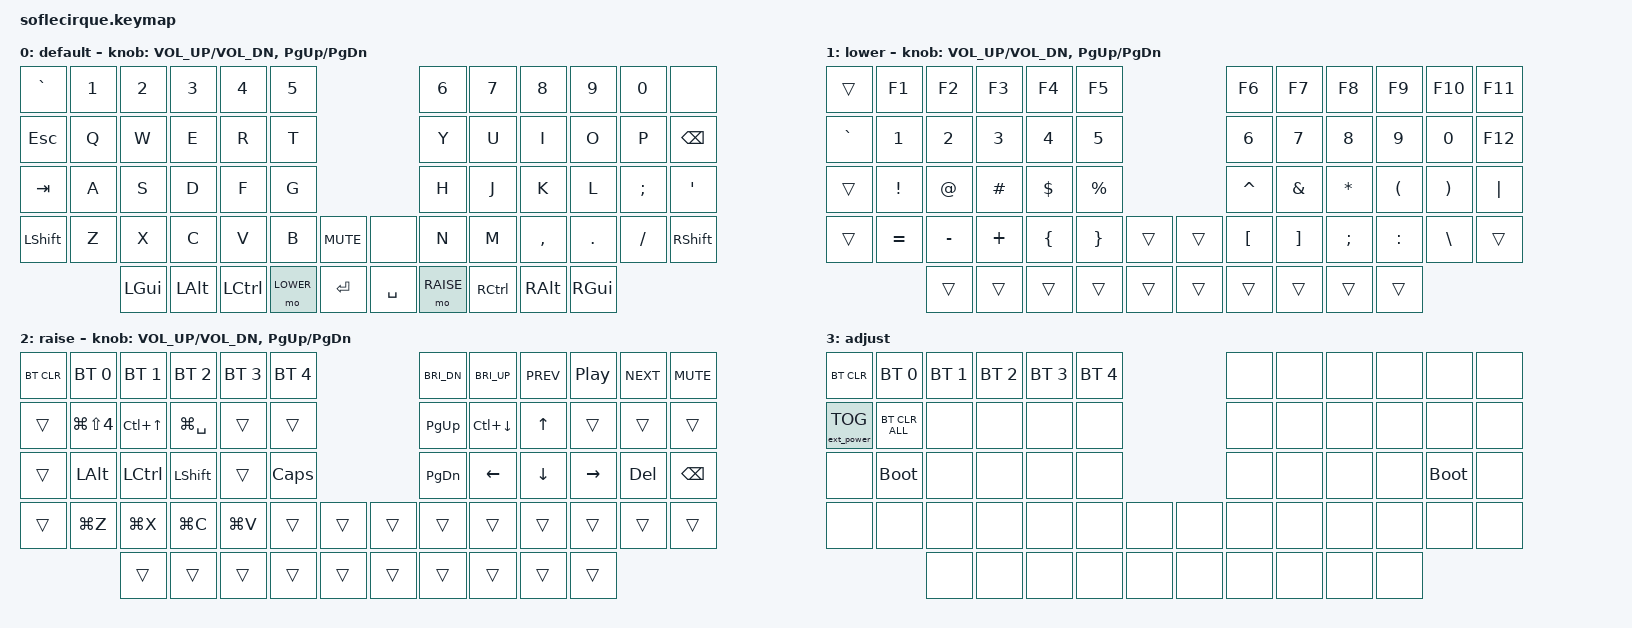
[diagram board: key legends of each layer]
/*
 * Copyright (c) 2020 The ZMK Contributors
 *
 * SPDX-License-Identifier: MIT
 */

#include <behaviors.dtsi>
#include <dt-bindings/zmk/keys.h>
#include <dt-bindings/zmk/bt.h>
#include <dt-bindings/zmk/ext_power.h>

#define BASE 0
#define LOWER 1
#define RAISE 2
#define ADJUST 3

/ {

   // Activate ADJUST layer by pressing raise and lower
    conditional_layers {
        compatible = "zmk,conditional-layers";
        adjust_layer {
            if-layers = <LOWER RAISE>;
            then-layer = <ADJUST>;
        };
    };

    keymap {
        compatible = "zmk,keymap";

        default_layer {
            display-name = "default";
// ------------------------------------------------------------------------------------------------------------
// |   `   |  1  |  2  |  3   |  4   |  5   |                   |  6   |  7    |  8    |  9   |   0   |       |
// |  ESC  |  Q  |  W  |  E   |  R   |  T   |                   |  Y   |  U    |  I    |  O   |   P   | BKSPC |
// |  TAB  |  A  |  S  |  D   |  F   |  G   |                   |  H   |  J    |  K    |  L   |   ;   |   '   |
// | SHIFT |  Z  |  X  |  C   |  V   |  B   |  MUTE  |  |       |  N   |  M    |  ,    |  .   |   /   | SHIFT |
//               | GUI | ALT  | CTRL | LOWER|  ENTER |  | SPACE | RAISE| CTRL  | ALT   | GUI  |
            bindings = <
&kp GRAVE &kp N1 &kp N2   &kp N3   &kp N4    &kp N5                           &kp N6 &kp N7    &kp N8    &kp N9   &kp N0   &none
&kp ESC   &kp Q  &kp W    &kp E    &kp R     &kp T                            &kp Y  &kp U     &kp I     &kp O    &kp P    &kp BSPC
&kp TAB   &kp A  &kp S    &kp D    &kp F     &kp G                            &kp H  &kp J     &kp K     &kp L    &kp SEMI &kp SQT
&kp LSHFT &kp Z  &kp X    &kp C    &kp V     &kp B      &kp C_MUTE &none      &kp N  &kp M     &kp COMMA &kp DOT  &kp FSLH &kp RSHFT
                 &kp LGUI &kp LALT &kp LCTRL &mo LOWER  &kp RET    &kp SPACE  &mo RAISE  &kp RCTRL &kp RALT  &kp RGUI
            >;

            sensor-bindings = <&inc_dec_kp C_VOL_UP C_VOL_DN &inc_dec_kp PG_UP PG_DN>;
        };

        lower_layer {
            display-name = "lower";
// TODO: Some binds are waiting for shifted keycode support.
// ------------------------------------------------------------------------------------------------------------
// |       |  F1 |  F2 |  F3  |  F4  |  F5  |                   |  F6  |  F7   |  F8   |  F9  |  F10  |  F11  |
// |   `   |  1  |  2  |  3   |  4   |  5   |                   |  6   |  7    |  8    |  9   |   0   |  F12  |
// |       |  !  |  @  |  #   |  $   |  %   |                   |  ^   |  &    |  *    |  (   |   )   |   |   |
// |       |  =  |  -  |  +   |  {   |  }   |        |  |       |  [   |  ]    |  ;    |  :   |   \   |       |
//               |     |      |      |      |        |  |       |      |       |       |      |
            bindings = <
&trans    &kp F1    &kp F2    &kp F3      &kp F4    &kp F5                    &kp F6    &kp F7   &kp F8    &kp F9    &kp F10   &kp F11
&kp GRAVE &kp N1    &kp N2    &kp N3      &kp N4    &kp N5                    &kp N6    &kp N7   &kp N8    &kp N9    &kp N0    &kp F12
&trans    &kp EXCL  &kp AT    &kp HASH    &kp DLLR  &kp PRCNT                 &kp CARET &kp AMPS &kp ASTRK &kp LPAR  &kp RPAR  &kp PIPE
&trans    &kp EQUAL &kp MINUS &kp PLUS &kp LBRC  &kp RBRC   &trans &trans  &kp LBKT  &kp RBKT &kp SEMI  &kp COLON &kp BSLH  &trans
                    &trans    &trans      &trans    &trans     &trans &trans  &trans    &trans   &trans    &trans
            >;

            sensor-bindings = <&inc_dec_kp C_VOL_UP C_VOL_DN &inc_dec_kp PG_UP PG_DN>;
        };

        raise_layer {
            display-name = "raise";
// ------------------------------------------------------------------------------------------------------------
// | BTCLR | BT1  | BT2  |  BT3  |  BT4  |  BT5 |                | BRI- | BRI+ | PREV  | PLAY | NEXT  | MUTE  |
// |       | SHOT | MCTL | SPOT  |       |      |                | PGUP | EXPO |   ^   |      |       |       |
// |       | ALT  | CTRL | SHIFT |       | CAPS |                | PGDN |   <- |   v   |  ->  |  DEL  | BKSPC |
// |       | CMD+Z| CMD+X| CMD+C | CMD+V |      |      |  |      |      |      |       |      |       |       |
//                |      |       |       |      |      |  |      |      |      |       |      |
// macOS: SHOT = Cmd+Shift+4 (captura)   MCTL = Ctrl+Up (Mission Control)
//        SPOT = Cmd+Space (Spotlight)   EXPO = Ctrl+Down (App Expose)
            bindings = <
&bt BT_CLR &bt BT_SEL 0   &bt BT_SEL 1 &bt BT_SEL 2  &bt BT_SEL 3 &bt BT_SEL 4                &kp C_BRI_DN &kp C_BRI_UP &kp C_PREV &kp C_PP  &kp C_NEXT &kp C_MUTE
&trans     &kp LG(LS(N4)) &kp LC(UP)   &kp LG(SPACE) &trans       &trans                      &kp PG_UP    &kp LC(DOWN) &kp UP     &trans    &trans     &trans
&trans     &kp LALT       &kp LCTRL    &kp LSHFT     &trans       &kp CLCK                    &kp PG_DN    &kp LEFT     &kp DOWN   &kp RIGHT &kp DEL    &kp BSPC
&trans     &kp LG(Z)      &kp LG(X)    &kp LG(C)     &kp LG(V)    &trans      &trans  &trans  &trans       &trans       &trans     &trans    &trans     &trans
                          &trans       &trans        &trans       &trans      &trans  &trans  &trans       &trans       &trans     &trans
            >;

            sensor-bindings = <&inc_dec_kp C_VOL_UP C_VOL_DN &inc_dec_kp PG_UP PG_DN>;
        };

        adjust_layer {
// ----------------------------------------------------------------------------------------------------------------------------
// | BTCLR  | BT1     | BT2     |  BT3    |  BT4    |  BT5    |                  |      |      |       |      |       |       |
// | EXTPWR | BTCLRALL|         |         |         |         |                  |      |      |       |      |       |       |
// |        | BOOTLDR |         |         |         |         |                  |      |      |       |      |BOOTLDR|       |
// |        |         |         |         |         |         |         | |      |      |      |       |      |       |       |
//                    |         |         |         |         |         | |      |      |      |       |      |
// Sin teclas de RGB: el PCB no lleva LEDs (confirmado con el vendedor), asi
// que los &rgb_ug que habia aqui no hacian absolutamente nada.
// BTCLRALL borra TODOS los perfiles bluetooth de una vez, no solo el activo.
// BOOTLDR pone en modo de flasheo la mitad donde esta esa tecla, sin tener
// que acertar el doble clic en el boton de reset. Hay una en cada mitad.
            display-name = "adjust";
            bindings = <
&bt BT_CLR        &bt BT_SEL 0    &bt BT_SEL 1 &bt BT_SEL 2 &bt BT_SEL 3 &bt BT_SEL 4                &none &none &none &none &none       &none
&ext_power EP_TOG &bt BT_CLR_ALL  &none        &none        &none        &none                       &none &none &none &none &none       &none
&none             &bootloader     &none        &none        &none        &none                       &none &none &none &none &bootloader &none
&none             &none           &none        &none        &none        &none        &none  &none   &none &none &none &none &none       &none
                                  &none        &none        &none        &none        &none  &none   &none &none &none &none
            >;
        };

    };
};
